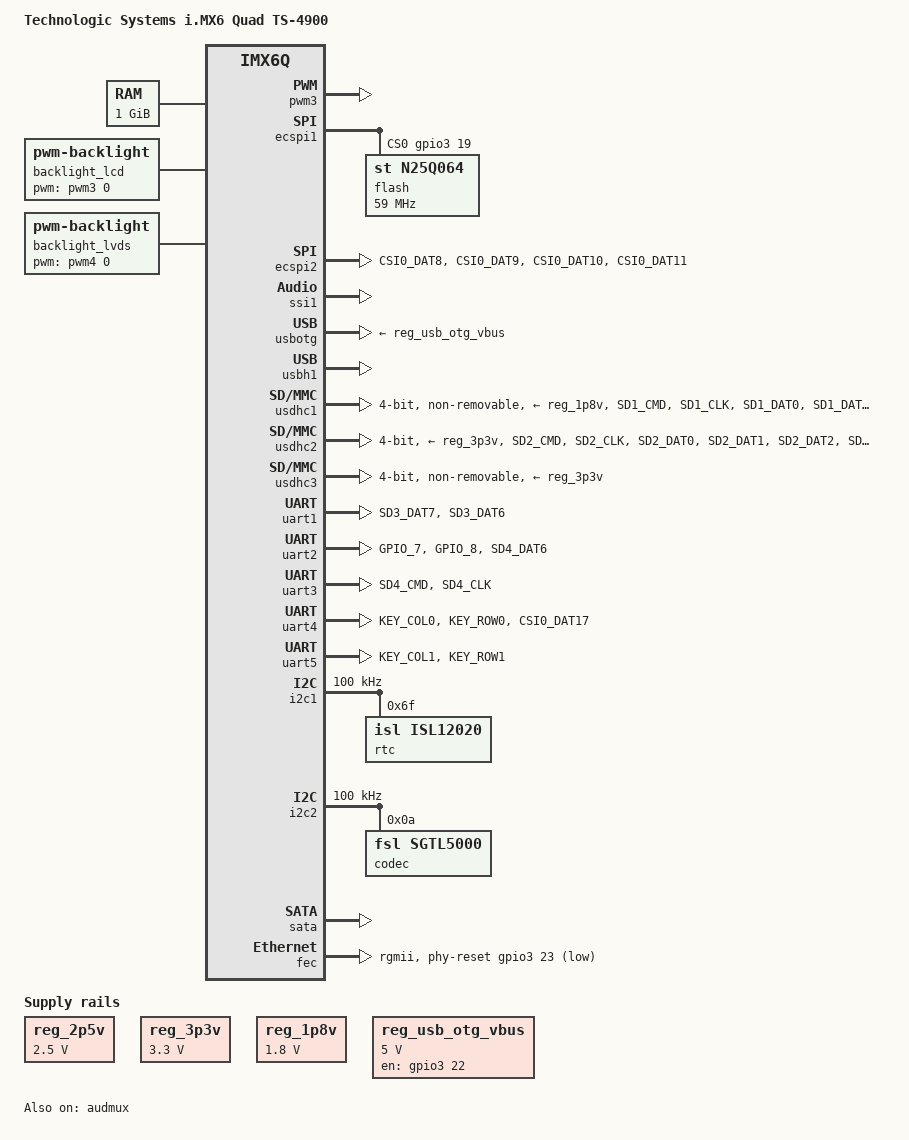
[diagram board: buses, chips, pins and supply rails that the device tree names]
/*
 * Copyright 2011 Freescale Semiconductor, Inc.
 * Copyright 2011 Linaro Ltd.
 *
 * The code contained herein is licensed under the GNU General Public
 * License. You may obtain a copy of the GNU General Public License
 * Version 2 or later at the following locations:
 *
 * http://www.opensource.org/licenses/gpl-license.html
 * http://www.gnu.org/copyleft/gpl.html
 */

/dts-v1/;
#include "imx6q.dtsi"
#include <dt-bindings/interrupt-controller/irq.h>

/ {
	model = "Technologic Systems i.MX6 Quad TS-4900";
	compatible = "fsl,imx6q-ts4900", "fsl,imx6q";

	memory {
		reg = <0x10000000 0x40000000>;
	};

	regulators {
		compatible = "simple-bus";

		reg_2p5v: 2p5v {
			compatible = "regulator-fixed";
			regulator-name = "2P5V";
			regulator-min-microvolt = <2500000>;
			regulator-max-microvolt = <2500000>;
			regulator-always-on;
		};

		reg_3p3v: 3p3v {
			compatible = "regulator-fixed";
			regulator-name = "3P3V";
			regulator-min-microvolt = <3300000>;
			regulator-max-microvolt = <3300000>;
			regulator-always-on;
		};

		reg_1p8v: 1p8v {
			compatible = "regulator-fixed";
			regulator-name = "1P8V";
			regulator-min-microvolt = <1800000>;
			regulator-max-microvolt = <1800000>;
			regulator-always-on;
		};

		reg_usb_otg_vbus: usb_otg_vbus {
			compatible = "regulator-fixed";
			regulator-name = "usb_otg_vbus";
			regulator-min-microvolt = <5000000>;
			regulator-max-microvolt = <5000000>;
			gpio = <&gpio3 22 0>;
			enable-active-high;
		};
	};

	
	sound {
		compatible = "fsl,imx6q-ts4900-sgtl5000",
			     "fsl,imx-audio-sgtl5000";
		model = "imx6q-ts4900-sgtl5000";
		ssi-controller = <&ssi1>;
		audio-codec = <&codec>;
		audio-routing =
			"MIC_IN", "Mic Jack",
			"Mic Jack", "Mic Bias",
			"Headphone Jack", "HP_OUT";
		mux-int-port = <1>;
		mux-ext-port = <4>;
	};

    mxcfb1: fb@0 {
            compatible = "fsl,mxc_sdc_fb";
            disp_dev = "ldb";
            interface_pix_fmt = "RGB666";            
            //mode_str ="LDB-XGA";
            mode_str ="OKAYA-WVGA";
            default_bpp = <16>;
            int_clk = <0>;
            late_init = <0>;
            status = "disabled";
    };

/*    
	lcd@0 {
		compatible = "fsl,lcd";
		ipu_id = <0>;
		disp_id = <0>;
		default_ifmt = "RGB565";
		pinctrl-names = "default";
		pinctrl-0 = <&pinctrl_ipu_4900>;		
		status = "okay";							
	};
*/

	backlight_lcd {
		compatible = "pwm-backlight";
		pwms = <&pwm3 0 5000000>;
		brightness-levels = <0 4 8 16 32 64 128 255>;
		default-brightness-level = <7>;
	};


	backlight_lvds {
		compatible = "pwm-backlight";
		pwms = <&pwm4 0 5000000>;
		brightness-levels = <0 4 8 16 32 64 128 255>;
		default-brightness-level = <7>;
	};
};

&pwm3 {
        pinctrl-names = "default";
        pinctrl-0 = <&pinctrl_pwm3_1>;
        status = "okay";
};


&ecspi1 {
	fsl,spi-num-chipselects = <1>;
	cs-gpios = <&gpio3 19 0>;
	pinctrl-names = "default";
	pinctrl-0 = <&pinctrl_ecspi1_1>;
	status = "okay";
	flash: n25q064@0 {
		compatible = "st,n25q064";
		spi-max-frequency = <59000000>;
		reg = <0>;
	};
};

&ecspi2 {
	fsl,spi-num-chipselects = <1>;
	pinctrl-names = "default";
	pinctrl-0 = <&pinctrl_ecspi2_4900>;
	status = "okay";
};

&ssi1 {
	fsl,mode = "i2s-slave";
	status = "okay";
};

&iomuxc {
	pinctrl-names = "default";
	pinctrl-0 = <&pinctrl_misc>;

	uart1-4900 {
		pinctrl_uart1_4900: uart1-grp-2 {
			fsl,pins = <
				MX6QDL_PAD_SD3_DAT7__UART1_TX_DATA	0x1b0b1
				MX6QDL_PAD_SD3_DAT6__UART1_RX_DATA	0x1b0b1
			>;
		};
	};

	uart2-4900 {
		pinctrl_uart2_4900: uart2-grp-2 {
			fsl,pins = <
				MX6QDL_PAD_GPIO_7__UART2_TX_DATA	0x1b0b1
				MX6QDL_PAD_GPIO_8__UART2_RX_DATA	0x1b0b1
				MX6QDL_PAD_SD4_DAT6__UART2_CTS_B 0x1b0b1
			>;
		};
	};

	uart3-4900 {
		pinctrl_uart3_4900: uart3-grp-2 {
			fsl,pins = <
				MX6QDL_PAD_SD4_CMD__UART3_TX_DATA	0x1b0b1
				MX6QDL_PAD_SD4_CLK__UART3_TX_DATA	0x1b0b1
			>;
		};
	};

	uart4-4900 {
		pinctrl_uart4_4900: uart4-grp-2 {
			fsl,pins = <
				MX6QDL_PAD_KEY_COL0__UART4_TX_DATA	0x1b0b1
				MX6QDL_PAD_KEY_ROW0__UART4_RX_DATA	0x1b0b1
				MX6QDL_PAD_CSI0_DAT17__UART4_CTS_B 0x1b0b1
			>;
		};
	};

	uart5-4900 {
		pinctrl_uart5_4900: uart5-grp-2 {
			fsl,pins = <
				MX6QDL_PAD_KEY_COL1__UART5_TX_DATA	0x1b0b1
				MX6QDL_PAD_KEY_ROW1__UART5_RX_DATA	0x1b0b1
			>;
		};
	};

	// TODO verify irq uses same pad settings
	usdhc1-4900 {
		pinctrl_usdhc1_4900: usdhc1grp-1 {
			fsl,pins = <
				MX6QDL_PAD_SD1_CMD__SD1_CMD	0x17059
				MX6QDL_PAD_SD1_CLK__SD1_CLK	0x10059
				MX6QDL_PAD_SD1_DAT0__SD1_DATA0	0x17059
				MX6QDL_PAD_SD1_DAT1__SD1_DATA1		0x17059
				MX6QDL_PAD_SD1_DAT2__SD1_DATA2	0x17059
				MX6QDL_PAD_SD1_DAT3__SD1_DATA3	0x17059
				MX6QDL_PAD_ENET_RXD1__GPIO1_IO26	0x17059 // WIFI IRQ								
			>;
		};
	};

	usdhc2-4900 {
		pinctrl_usdhc2_4900: usdhc2grp-2 {
			fsl,pins = <
				MX6QDL_PAD_SD2_CMD__SD2_CMD    0x17059
				MX6QDL_PAD_SD2_CLK__SD2_CLK    0x10059
				MX6QDL_PAD_SD2_DAT0__SD2_DATA0 0x17059
				MX6QDL_PAD_SD2_DAT1__SD2_DATA1 0x17059
				MX6QDL_PAD_SD2_DAT2__SD2_DATA2 0x17059
				MX6QDL_PAD_SD2_DAT3__SD2_DATA3 0x17059
			>;
		};
	};

	ecspi2-4900 {
		pinctrl_ecspi2_4900: ecspi2-1 {
			fsl,pins = <
				MX6QDL_PAD_CSI0_DAT8__ECSPI2_SCLK    0x100b1
				MX6QDL_PAD_CSI0_DAT9__ECSPI2_MOSI    0x100b1
				MX6QDL_PAD_CSI0_DAT10__ECSPI2_MISO    0x100b1
				MX6QDL_PAD_CSI0_DAT11__ECSPI2_SS0    0x100b1
			>;
		};
	};

	ipu-4900 {
		pinctrl_ipu_4900: ipu2grp-1 {
			fsl,pins = <
			
				MX6QDL_PAD_EIM_A19__GPIO2_IO19				0x80000000 // EN_LCD_
				MX6QDL_PAD_DI0_DISP_CLK__IPU1_DI0_DISP_CLK	0x10
				MX6QDL_PAD_DI0_PIN15__IPU1_DI0_PIN15			0x10 // DE
				MX6QDL_PAD_DI0_PIN2__IPU1_DI0_PIN02			0x10 // Hsync
				MX6QDL_PAD_DI0_PIN3__IPU1_DI0_PIN03			0x10 // Vsync
				MX6QDL_PAD_DISP0_DAT0__IPU1_DISP0_DATA00		0x10
				MX6QDL_PAD_DISP0_DAT1__IPU1_DISP0_DATA01		0x10
				MX6QDL_PAD_DISP0_DAT2__IPU1_DISP0_DATA02		0x10
				MX6QDL_PAD_DISP0_DAT3__IPU1_DISP0_DATA03		0x10
				MX6QDL_PAD_DISP0_DAT4__IPU1_DISP0_DATA04		0x10
				MX6QDL_PAD_DISP0_DAT5__IPU1_DISP0_DATA05		0x10
				MX6QDL_PAD_DISP0_DAT6__IPU1_DISP0_DATA06		0x10
				MX6QDL_PAD_DISP0_DAT7__IPU1_DISP0_DATA07		0x10
				MX6QDL_PAD_DISP0_DAT8__IPU1_DISP0_DATA08		0x10
				MX6QDL_PAD_DISP0_DAT9__IPU1_DISP0_DATA09		0x10				
				MX6QDL_PAD_DISP0_DAT10__IPU1_DISP0_DATA10		0x10
				MX6QDL_PAD_DISP0_DAT11__IPU1_DISP0_DATA11		0x10
				MX6QDL_PAD_DISP0_DAT12__IPU1_DISP0_DATA12		0x10
				MX6QDL_PAD_DISP0_DAT13__IPU1_DISP0_DATA13		0x10
				MX6QDL_PAD_DISP0_DAT14__IPU1_DISP0_DATA14		0x10
				MX6QDL_PAD_DISP0_DAT15__IPU1_DISP0_DATA15		0x10
				MX6QDL_PAD_DISP0_DAT16__IPU1_DISP0_DATA16		0x10
				MX6QDL_PAD_DISP0_DAT17__IPU1_DISP0_DATA17		0x10
				MX6QDL_PAD_DISP0_DAT18__IPU1_DISP0_DATA18		0x10
				MX6QDL_PAD_DISP0_DAT19__IPU1_DISP0_DATA19		0x10
				MX6QDL_PAD_DISP0_DAT20__IPU1_DISP0_DATA20		0x10
				MX6QDL_PAD_DISP0_DAT21__IPU1_DISP0_DATA21		0x10
				MX6QDL_PAD_DISP0_DAT22__IPU1_DISP0_DATA22		0x10
				MX6QDL_PAD_DISP0_DAT23__IPU1_DISP0_DATA23		0x10

				
			>;
		};
	};

	
	misc {
		pinctrl_misc: misc {
			fsl,pins = <
				MX6QDL_PAD_NANDF_D6__GPIO2_IO06 0x80000000
				MX6QDL_PAD_NANDF_D7__GPIO2_IO07 0x80000000
				MX6QDL_PAD_EIM_D19__GPIO3_IO19  0x80000000
				MX6QDL_PAD_EIM_D22__GPIO3_IO22  0x80000000
				MX6QDL_PAD_EIM_D23__GPIO3_IO23  0x80000000
				MX6QDL_PAD_SD3_DAT5__GPIO7_IO00 0x80000000
				MX6QDL_PAD_SD3_DAT4__GPIO7_IO01 0x1f0b0
				MX6QDL_PAD_GPIO_0__CCM_CLKO1    0x80000000
			>;
		};
	};
};

&usbotg {
	vbus-supply = <&reg_usb_otg_vbus>;
	pinctrl-names = "default";
	pinctrl-0 = <&pinctrl_usbotg_1>;
	disable-over-current;
	status = "okay";
};

&usbh1 {
	status = "okay";
};



// WIFI
&usdhc1 { 
	pinctrl-names = "default";
	pinctrl-0 = <&pinctrl_usdhc1_4900>;
	vmmc-supply = <&reg_1p8v>;
	bus-width = <4>;
	status = "okay";
	fsl,cd-controller;
	fsl,wp-controller;
	non-removable;

};

// SD
&usdhc2 {
	pinctrl-names = "default";
	pinctrl-0 = <&pinctrl_usdhc2_4900>;
	vmmc-supply = <&reg_3p3v>;
	bus-width = <4>;
	status = "okay";
	//fsl,cd-controller;
	fsl,wp-controller;
	
};

// eMMC
&usdhc3 {
	pinctrl-names = "default";
	pinctrl-0 = <&pinctrl_usdhc3_2>;
	vmmc-supply = <&reg_3p3v>;
	bus-width = <4>;
	status = "okay";
	fsl,cd-controller;
	fsl,wp-controller;
	non-removable;

}; 

&audmux {
	status = "okay";
	pinctrl-names = "default";
	pinctrl-0 = <&pinctrl_audmux_2>;
};

&uart1 {
	status = "okay";
	pinctrl-names = "default";
	pinctrl-0 = <&pinctrl_uart1_4900>;
};

&uart2 {
	status = "okay";
	pinctrl-names = "default";
	pinctrl-0 = <&pinctrl_uart2_4900>;
};


&uart3 {
	status = "okay";
	pinctrl-names = "default";
	pinctrl-0 = <&pinctrl_uart3_4900>;
};


&uart4 {
	status = "okay";
	pinctrl-names = "default";
	pinctrl-0 = <&pinctrl_uart4_4900>;
};


&uart5 {
	status = "okay";
	pinctrl-names = "default";
	pinctrl-0 = <&pinctrl_uart5_4900>;
};

&i2c1 {
	status = "okay";
	clock-frequency = <100000>;
	pinctrl-names = "default";
	pinctrl-0 = <&pinctrl_i2c1_1>;

	rtc: isl12020@6f {
		compatible = "isl,isl12020";
		reg = <0x6f>;
	};
};


&i2c2 {
	status = "okay";
	clock-frequency = <100000>;
	pinctrl-names = "default";
	pinctrl-0 = <&pinctrl_i2c2_2>;

	codec: sgtl5000@0a {
		compatible = "fsl,sgtl5000";
		reg = <0x0a>;
		clocks = <&clks 169>;
	};
};


&sata {
        status = "okay";
};


&fec {
			pinctrl-names = "default";
			pinctrl-0 = <&pinctrl_enet_1>;
			phy-mode = "rgmii";
			phy-autoneg = "disable";
			phy-speed = "100";			
			phy-duplex = "full";
			phy-reset-gpios = <&gpio3 23 0>;
			status = "okay";	
	};
	
